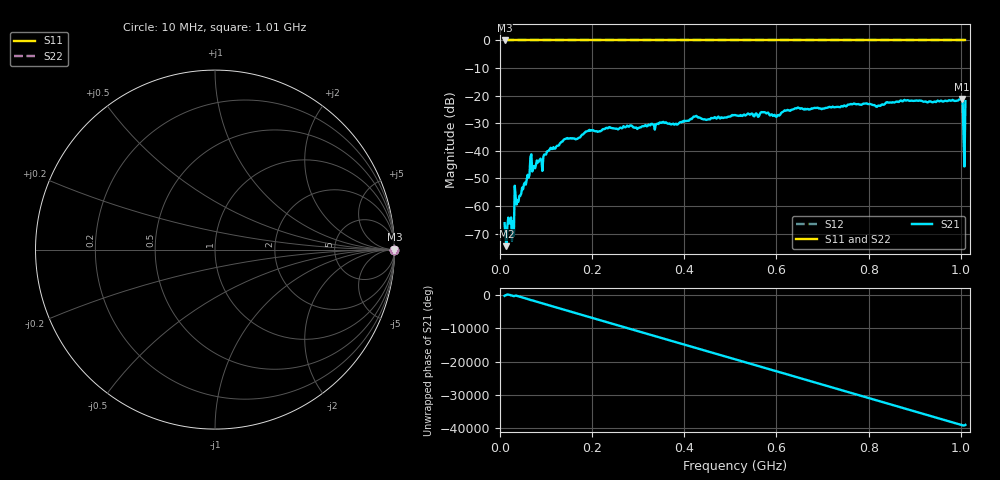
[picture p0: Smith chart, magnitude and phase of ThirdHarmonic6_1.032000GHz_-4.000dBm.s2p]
! 8/16/2025 8:49:24 AM
! C:\ANRITSUVNA\TEMP\TEMP.S2P
! CHANNEL.1
! TR.MEASUREMENT
! RAW.DATA
! RF.CORRECTION.OFF
! AVERAGING.OFF
! IF.BANDWIDTH: 5KHZ
! SWEEPTYPE:  FREQ.SWEEP(Linear)
! Reference Plane Port Info
! PORT:  PORT1  PORT2
! DISTANCE:  0  m  0  m
! TIME:  0  s  0  s
! PHASE.OFFSET:  0  deg.  0  deg.
! LOSS:  0  dB  0  dB
! REF.LOSS:  0  dB  0  dB
! REF.FREQ:  0  Hz  0  Hz
! Power Info
! POWER:  -20  dBm  -20  dBm
! EFF.POWER:  -20  dBm  -20  dBm
! SOURCE.ATTEN:  0  dB  0  dB
! TEST.ATTEN:  0  dB  0  dB
# GHZ S RI R 50.0
! FREQ.GHZ  S11RE  S11IM  S21RE  S21IM  S12RE  S12IM  S22RE  S22IM
!; PortSelection: Port_12
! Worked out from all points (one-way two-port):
!   501 points, 10 MHz to 1.01 GHz, reference 50 ohm
!   highest |S21| = -21.24 dB at 1.002 GHz (marker M1); lowest = -74.6 dB at 14 MHz (marker M2)
!   lowest |S11| = 0.0 dB at 10 MHz (marker M3)
!   |S11| at or under -10 dB: nowhere
!   |S22| runs from 0.0 to 0.0 dB; largest |S21 - S12| = 1.1
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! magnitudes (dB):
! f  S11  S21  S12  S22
! 10 MHz  0.0  -66.2  0.0  0.0
! 14 MHz  0.0  -74.6  0.0  0.0
! 20 MHz  0.0  -66.3  0.0  0.0
! 26 MHz  0.0  -72.5  0.0  0.0
! 36 MHz  0.0  -59.4  0.0  0.0
! 40 MHz  0.0  -58.4  0.0  0.0
! 70 MHz  0.0  -47.5  0.0  0.0
! 74 MHz  0.0  -45.5  0.0  0.0
! 106 MHz  0.0  -39.9  0.0  0.0
! 142 MHz  0.0  -35.7  0.0  0.0
! 178 MHz  0.0  -34.2  0.0  0.0
! 194 MHz  0.0  -32.4  0.0  0.0
! 344 MHz  0.0  -30.3  0.0  0.0
! 510 MHz  0.0  -27.0  0.0  0.0
! 602 MHz  0.0  -27.1  0.0  0.0
! 644 MHz  0.0  -24.6  0.0  0.0
! 678 MHz  0.0  -24.7  0.0  0.0
! 844 MHz  0.0  -22.5  0.0  0.0
! 1 GHz  0.0  -21.3  0.0  0.0
! 1.002 GHz  0.0  -21.2  0.0  0.0
! 1.004 GHz  0.0  -21.5  0.0  0.0
! 1.01 GHz  0.0  -22.0  0.0  0.0
